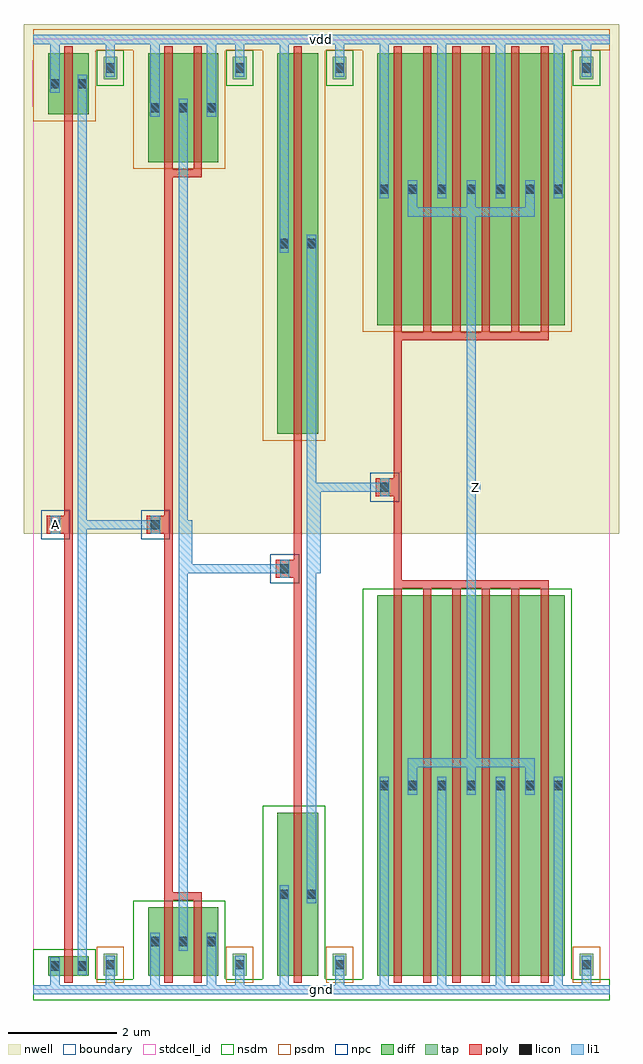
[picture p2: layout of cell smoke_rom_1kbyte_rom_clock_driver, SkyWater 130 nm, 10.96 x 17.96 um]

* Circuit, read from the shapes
.subckt smoke_rom_1kbyte_rom_clock_driver A Z gnd vdd
XM1 smoke_rom_1kbyte_pinv_0_1/A A gnd gnd sky130_fd_pr__nfet_01v8 w=0.36 l=0.15
XM2 smoke_rom_1kbyte_pinv_1_2/A smoke_rom_1kbyte_pinv_0_1/A gnd gnd sky130_fd_pr__nfet_01v8 w=1.26 l=0.15 m=2
XM3 smoke_rom_1kbyte_pinv_2_3/A smoke_rom_1kbyte_pinv_1_2/A gnd gnd sky130_fd_pr__nfet_01v8 w=3 l=0.15
XM4 Z smoke_rom_1kbyte_pinv_2_3/A gnd gnd sky130_fd_pr__nfet_01v8 w=7 l=0.15 m=6
XM5 smoke_rom_1kbyte_pinv_0_1/A A vdd vdd sky130_fd_pr__pfet_01v8 w=1.12 l=0.15
XM6 smoke_rom_1kbyte_pinv_1_2/A smoke_rom_1kbyte_pinv_0_1/A vdd vdd sky130_fd_pr__pfet_01v8 w=2 l=0.15 m=2
XM7 smoke_rom_1kbyte_pinv_2_3/A smoke_rom_1kbyte_pinv_1_2/A vdd vdd sky130_fd_pr__pfet_01v8 w=7 l=0.15
XM8 Z smoke_rom_1kbyte_pinv_2_3/A vdd vdd sky130_fd_pr__pfet_01v8 w=5 l=0.15 m=6
.ends

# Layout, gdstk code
import gdstk
lib = gdstk.Library(unit=1e-6, precision=1e-09)
def R(c, l, rs):  # rectangles x0, y0, x1, y1
    for r in rs: c.add(gdstk.rectangle(r[:2], r[2:], *l))
def A(c, l, x, y, w, h, nx, ny, dx, dy):  # array of equal rectangles
    R(c, l, [(x+i*dx, y+j*dy, x+i*dx+w, y+j*dy+h) for i in range(nx) for j in range(ny)])
nwell = (64, 20)
diff = (65, 20)
tap = (65, 44)
poly = (66, 20)
licon = (66, 44)
li1 = (67, 20)
stdcell_id = (81, 4)
nsdm = (93, 44)
psdm = (94, 20)
npc = (95, 20)
boundary = (235, 4)

smoke_rom_1kbyte_contact = lib.new_cell('smoke_rom_1kbyte_contact_10')
R(smoke_rom_1kbyte_contact, nwell, [(-0.295,-0.255,0.545,0.585)])
R(smoke_rom_1kbyte_contact, diff, [(0,0.02,0.25,0.31)])
R(smoke_rom_1kbyte_contact, licon, [(0.04,0.08,0.21,0.25)])
R(smoke_rom_1kbyte_contact, li1, [(0.04,0,0.21,0.33)])
R(smoke_rom_1kbyte_contact, stdcell_id, [(-0.295,-0.255,0.545,0.585)])
R(smoke_rom_1kbyte_contact, psdm, [(-0.125,-0.105,0.375,0.435)])
R(smoke_rom_1kbyte_contact, boundary, [(-0.295,-0.255,0.545,0.585)])

smoke_rom_1kbyte_pmos_m1 = lib.new_cell('smoke_rom_1kbyte_pmos_m1_w1_120_sli_dli_da_p')
R(smoke_rom_1kbyte_pmos_m1, nwell, [(-0.27,-0.27,1.02,1.39)])
R(smoke_rom_1kbyte_pmos_m1, diff, [(0,0,0.75,1.12)])
R(smoke_rom_1kbyte_pmos_m1, poly, [(0.3,-0.13,0.45,1.25), (0.3,-0.13,0.45,1.25)])
R(smoke_rom_1kbyte_pmos_m1, li1, [(0.04,0.395,0.21,0.725), (0.54,0.395,0.71,0.725)])
R(smoke_rom_1kbyte_pmos_m1, stdcell_id, [(-0.27,-0.27,1.02,1.39)])
R(smoke_rom_1kbyte_pmos_m1, psdm, [(-0.125,-0.125,0.875,1.245)])
R(smoke_rom_1kbyte_pmos_m1, boundary, [(-0.27,-0.27,1.02,1.39)])
smoke_rom_1kbyte_pmos_m1.add(gdstk.Reference(smoke_rom_1kbyte_contact, (0,0.395)))
smoke_rom_1kbyte_pmos_m1.add(gdstk.Reference(smoke_rom_1kbyte_contact, (0.5,0.395)))
smoke_rom_1kbyte_pmos_m1.add(gdstk.Label('G', (0.375,0.56), layer=66, texttype=5))
smoke_rom_1kbyte_pmos_m1.add(gdstk.Label('S', (0.125,0.56), layer=67, texttype=5))
smoke_rom_1kbyte_pmos_m1.add(gdstk.Label('D', (0.625,0.56), layer=67, texttype=5))

c_smoke_rom_1kbyte_contact = lib.new_cell('smoke_rom_1kbyte_contact_8')
R(c_smoke_rom_1kbyte_contact, diff, [(0,0.02,0.25,0.31)])
R(c_smoke_rom_1kbyte_contact, licon, [(0.04,0.08,0.21,0.25)])
R(c_smoke_rom_1kbyte_contact, li1, [(0.04,0,0.21,0.33)])
R(c_smoke_rom_1kbyte_contact, stdcell_id, [(-0.125,-0.105,0.375,0.435)])
R(c_smoke_rom_1kbyte_contact, nsdm, [(-0.125,-0.105,0.375,0.435)])
R(c_smoke_rom_1kbyte_contact, boundary, [(-0.125,-0.105,0.375,0.435)])

smoke_rom_1kbyte_nmos_m1 = lib.new_cell('smoke_rom_1kbyte_nmos_m1_w0_360_sli_dli_da_p')
R(smoke_rom_1kbyte_nmos_m1, diff, [(0,0,0.75,0.36)])
R(smoke_rom_1kbyte_nmos_m1, poly, [(0.3,-0.13,0.45,0.49), (0.3,-0.13,0.45,0.49)])
R(smoke_rom_1kbyte_nmos_m1, li1, [(0.04,0.015,0.21,0.345), (0.54,0.015,0.71,0.345)])
R(smoke_rom_1kbyte_nmos_m1, stdcell_id, [(-0.125,-0.13,0.875,0.49)])
R(smoke_rom_1kbyte_nmos_m1, nsdm, [(-0.125,-0.125,0.875,0.485)])
R(smoke_rom_1kbyte_nmos_m1, boundary, [(-0.125,-0.13,0.875,0.49)])
smoke_rom_1kbyte_nmos_m1.add(gdstk.Reference(c_smoke_rom_1kbyte_contact, (0,0.015)))
smoke_rom_1kbyte_nmos_m1.add(gdstk.Reference(c_smoke_rom_1kbyte_contact, (0.5,0.015)))
smoke_rom_1kbyte_nmos_m1.add(gdstk.Label('G', (0.375,0.18), layer=66, texttype=5))
smoke_rom_1kbyte_nmos_m1.add(gdstk.Label('S', (0.125,0.18), layer=67, texttype=5))
smoke_rom_1kbyte_nmos_m1.add(gdstk.Label('D', (0.625,0.18), layer=67, texttype=5))

c_smoke_rom_1kbyte_contact_ = lib.new_cell('smoke_rom_1kbyte_contact_26')
R(c_smoke_rom_1kbyte_contact_, nwell, [(-0.295,-0.215,0.545,0.625)])
R(c_smoke_rom_1kbyte_contact_, tap, [(0,0,0.25,0.41)])
R(c_smoke_rom_1kbyte_contact_, licon, [(0.04,0.12,0.21,0.29)])
R(c_smoke_rom_1kbyte_contact_, li1, [(0.04,0.04,0.21,0.37)])
R(c_smoke_rom_1kbyte_contact_, stdcell_id, [(-0.295,-0.215,0.545,0.625)])
R(c_smoke_rom_1kbyte_contact_, nsdm, [(-0.125,-0.125,0.375,0.535)])
R(c_smoke_rom_1kbyte_contact_, boundary, [(-0.295,-0.215,0.545,0.625)])

c_smoke_rom_1kbyte_contact__ = lib.new_cell('smoke_rom_1kbyte_contact_27')
R(c_smoke_rom_1kbyte_contact__, tap, [(0,0,0.25,0.41)])
R(c_smoke_rom_1kbyte_contact__, licon, [(0.04,0.12,0.21,0.29)])
R(c_smoke_rom_1kbyte_contact__, li1, [(0.04,0.04,0.21,0.37)])
R(c_smoke_rom_1kbyte_contact__, stdcell_id, [(-0.125,-0.125,0.375,0.535)])
R(c_smoke_rom_1kbyte_contact__, psdm, [(-0.125,-0.125,0.375,0.535)])
R(c_smoke_rom_1kbyte_contact__, boundary, [(-0.125,-0.125,0.375,0.535)])

c_smoke_rom_1kbyte_contact___ = lib.new_cell('smoke_rom_1kbyte_contact_11')
R(c_smoke_rom_1kbyte_contact___, poly, [(0,0,0.33,0.33)])
R(c_smoke_rom_1kbyte_contact___, licon, [(0.08,0.08,0.25,0.25)])
R(c_smoke_rom_1kbyte_contact___, li1, [(0.08,0,0.25,0.33)])
R(c_smoke_rom_1kbyte_contact___, stdcell_id, [(-0.1,-0.1,0.43,0.43)])
R(c_smoke_rom_1kbyte_contact___, npc, [(-0.1,-0.1,0.43,0.43)])
R(c_smoke_rom_1kbyte_contact___, boundary, [(-0.1,-0.1,0.43,0.43)])

smoke_rom_1kbyte_pinv = lib.new_cell('smoke_rom_1kbyte_pinv')
R(smoke_rom_1kbyte_pinv, nwell, [(-0.18,8.39,2.02,17.77)])
R(smoke_rom_1kbyte_pinv, poly, [(0.57,0.745,0.72,15.98), (0.405,8.39,0.57,8.72)])
R(smoke_rom_1kbyte_pinv, li1, [(0,-0.085,1.84,0.085), (0.31,-0.085,0.48,0.27), (1.33,0,1.5,0.46), (0.81,0.27,0.98,16.835), (0.32,8.39,0.49,8.72), (0.895,8.47,1.065,8.64), (0.31,16.505,0.48,17.57), (1.33,16.96,1.5,17.48), (0,17.4,1.84,17.57)])
R(smoke_rom_1kbyte_pinv, stdcell_id, [(0,0,1.84,17.48), (0,0,1.84,17.48)])
R(smoke_rom_1kbyte_pinv, nsdm, [(0,-0.19,1.84,0.19), (0,0,1.145,0.74)])
R(smoke_rom_1kbyte_pinv, psdm, [(0,15.985,1.145,17.485), (0,17.29,1.84,17.67)])
R(smoke_rom_1kbyte_pinv, boundary, [(0,0,1.84,17.48), (0,0,1.84,17.48)])
smoke_rom_1kbyte_pinv.add(gdstk.Reference(smoke_rom_1kbyte_pmos_m1, (0.27,16.11)))
smoke_rom_1kbyte_pinv.add(gdstk.Reference(smoke_rom_1kbyte_nmos_m1, (0.27,0.255)))
smoke_rom_1kbyte_pinv.add(gdstk.Reference(c_smoke_rom_1kbyte_contact_, (1.29,16.755)))
smoke_rom_1kbyte_pinv.add(gdstk.Reference(c_smoke_rom_1kbyte_contact__, (1.29,0.255)))
smoke_rom_1kbyte_pinv.add(gdstk.Reference(c_smoke_rom_1kbyte_contact___, (0.24,8.39)))
smoke_rom_1kbyte_pinv.add(gdstk.Label('A', (0.405,8.555), layer=67, texttype=5))
smoke_rom_1kbyte_pinv.add(gdstk.Label('Z', (0.98,8.555), layer=67, texttype=5))
smoke_rom_1kbyte_pinv.add(gdstk.Label('gnd', (0.92,0), layer=67, texttype=5))
smoke_rom_1kbyte_pinv.add(gdstk.Label('vdd', (0.92,17.485), layer=67, texttype=5))

smoke_rom_1kbyte_pmos_m2 = lib.new_cell('smoke_rom_1kbyte_pmos_m2_w2_000_sli_dli_da_p')
R(smoke_rom_1kbyte_pmos_m2, nwell, [(-0.27,-0.27,1.56,2.27)])
R(smoke_rom_1kbyte_pmos_m2, diff, [(0,0,1.29,2)])
R(smoke_rom_1kbyte_pmos_m2, poly, [(0.3,-0.28,0.99,-0.13), (0.3,-0.13,0.45,2.13), (0.84,-0.13,0.99,2.13)])
A(smoke_rom_1kbyte_pmos_m2, li1, 0.04, 0.835, 0.17, 0.33, 3, 1, 0.52, 0)
R(smoke_rom_1kbyte_pmos_m2, stdcell_id, [(-0.27,-0.28,1.56,2.27)])
R(smoke_rom_1kbyte_pmos_m2, psdm, [(-0.125,-0.125,1.415,2.125)])
R(smoke_rom_1kbyte_pmos_m2, boundary, [(-0.27,-0.28,1.56,2.27)])
smoke_rom_1kbyte_pmos_m2.add(gdstk.Reference(smoke_rom_1kbyte_contact, (0,0.835)))
smoke_rom_1kbyte_pmos_m2.add(gdstk.Reference(smoke_rom_1kbyte_contact, (0.52,0.835)))
smoke_rom_1kbyte_pmos_m2.add(gdstk.Reference(smoke_rom_1kbyte_contact, (1.04,0.835)))
smoke_rom_1kbyte_pmos_m2.add(gdstk.Label('G', (0.645,-0.205), layer=66, texttype=5))
smoke_rom_1kbyte_pmos_m2.add(gdstk.Label('S', (1.165,1), layer=67, texttype=5))
smoke_rom_1kbyte_pmos_m2.add(gdstk.Label('S', (0.125,1), layer=67, texttype=5))
smoke_rom_1kbyte_pmos_m2.add(gdstk.Label('D', (0.645,1), layer=67, texttype=5))

smoke_rom_1kbyte_nmos_m2 = lib.new_cell('smoke_rom_1kbyte_nmos_m2_w1_260_sli_dli_da_p')
R(smoke_rom_1kbyte_nmos_m2, diff, [(0,0,1.29,1.26)])
R(smoke_rom_1kbyte_nmos_m2, poly, [(0.3,-0.13,0.45,1.39), (0.84,-0.13,0.99,1.39), (0.3,1.39,0.99,1.54)])
A(smoke_rom_1kbyte_nmos_m2, li1, 0.04, 0.465, 0.17, 0.33, 3, 1, 0.52, 0)
R(smoke_rom_1kbyte_nmos_m2, stdcell_id, [(-0.125,-0.13,1.415,1.54)])
R(smoke_rom_1kbyte_nmos_m2, nsdm, [(-0.125,-0.125,1.415,1.385)])
R(smoke_rom_1kbyte_nmos_m2, boundary, [(-0.125,-0.13,1.415,1.54)])
smoke_rom_1kbyte_nmos_m2.add(gdstk.Reference(c_smoke_rom_1kbyte_contact, (0,0.465)))
smoke_rom_1kbyte_nmos_m2.add(gdstk.Reference(c_smoke_rom_1kbyte_contact, (0.52,0.465)))
smoke_rom_1kbyte_nmos_m2.add(gdstk.Reference(c_smoke_rom_1kbyte_contact, (1.04,0.465)))
smoke_rom_1kbyte_nmos_m2.add(gdstk.Label('G', (0.645,1.465), layer=66, texttype=5))
smoke_rom_1kbyte_nmos_m2.add(gdstk.Label('S', (1.165,0.63), layer=67, texttype=5))
smoke_rom_1kbyte_nmos_m2.add(gdstk.Label('S', (0.125,0.63), layer=67, texttype=5))
smoke_rom_1kbyte_nmos_m2.add(gdstk.Label('D', (0.645,0.63), layer=67, texttype=5))

smoke_rom_1kbyte_pinv_0 = lib.new_cell('smoke_rom_1kbyte_pinv_0')
R(smoke_rom_1kbyte_pinv_0, nwell, [(-0.18,8.39,2.56,17.77)])
R(smoke_rom_1kbyte_pinv_0, poly, [(0.57,1.795,0.72,14.95), (0.405,8.39,0.57,8.72)])
R(smoke_rom_1kbyte_pinv_0, li1, [(0,-0.085,2.38,0.085), (0.31,-0.085,0.48,0.72), (1.35,-0.085,1.52,0.72), (1.87,0,2.04,0.46), (0.83,0.72,1,16.395), (0.32,8.39,0.49,8.72), (0.915,8.47,1.085,8.64), (0.31,16.065,0.48,17.57), (1.35,16.065,1.52,17.57), (1.87,16.96,2.04,17.48), (0,17.4,2.38,17.57)])
R(smoke_rom_1kbyte_pinv_0, stdcell_id, [(0,0,2.38,17.48), (0,0,2.38,17.48)])
R(smoke_rom_1kbyte_pinv_0, nsdm, [(0,-0.19,2.38,0.19), (0,0,1.685,1.64)])
R(smoke_rom_1kbyte_pinv_0, psdm, [(0,15.105,1.685,17.485), (0,17.29,2.38,17.67)])
R(smoke_rom_1kbyte_pinv_0, boundary, [(0,0,2.38,17.48), (0,0,2.38,17.48)])
smoke_rom_1kbyte_pinv_0.add(gdstk.Reference(smoke_rom_1kbyte_pmos_m2, (0.27,15.23)))
smoke_rom_1kbyte_pinv_0.add(gdstk.Reference(smoke_rom_1kbyte_nmos_m2, (0.27,0.255)))
smoke_rom_1kbyte_pinv_0.add(gdstk.Reference(c_smoke_rom_1kbyte_contact_, (1.83,16.755)))
smoke_rom_1kbyte_pinv_0.add(gdstk.Reference(c_smoke_rom_1kbyte_contact__, (1.83,0.255)))
smoke_rom_1kbyte_pinv_0.add(gdstk.Reference(c_smoke_rom_1kbyte_contact___, (0.24,8.39)))
smoke_rom_1kbyte_pinv_0.add(gdstk.Label('A', (0.405,8.555), layer=67, texttype=5))
smoke_rom_1kbyte_pinv_0.add(gdstk.Label('Z', (1,8.555), layer=67, texttype=5))
smoke_rom_1kbyte_pinv_0.add(gdstk.Label('gnd', (1.19,0), layer=67, texttype=5))
smoke_rom_1kbyte_pinv_0.add(gdstk.Label('vdd', (1.19,17.485), layer=67, texttype=5))

c_smoke_rom_1kbyte_pmos_m1 = lib.new_cell('smoke_rom_1kbyte_pmos_m1_w7_000_sli_dli_da_p')
R(c_smoke_rom_1kbyte_pmos_m1, nwell, [(-0.27,-0.27,1.02,7.27)])
R(c_smoke_rom_1kbyte_pmos_m1, diff, [(0,0,0.75,7)])
R(c_smoke_rom_1kbyte_pmos_m1, poly, [(0.3,-0.13,0.45,7.13), (0.3,-0.13,0.45,7.13)])
R(c_smoke_rom_1kbyte_pmos_m1, li1, [(0.04,3.335,0.21,3.665), (0.54,3.335,0.71,3.665)])
R(c_smoke_rom_1kbyte_pmos_m1, stdcell_id, [(-0.27,-0.27,1.02,7.27)])
R(c_smoke_rom_1kbyte_pmos_m1, psdm, [(-0.125,-0.125,0.875,7.125)])
R(c_smoke_rom_1kbyte_pmos_m1, boundary, [(-0.27,-0.27,1.02,7.27)])
c_smoke_rom_1kbyte_pmos_m1.add(gdstk.Reference(smoke_rom_1kbyte_contact, (0,3.335)))
c_smoke_rom_1kbyte_pmos_m1.add(gdstk.Reference(smoke_rom_1kbyte_contact, (0.5,3.335)))
c_smoke_rom_1kbyte_pmos_m1.add(gdstk.Label('G', (0.375,3.5), layer=66, texttype=5))
c_smoke_rom_1kbyte_pmos_m1.add(gdstk.Label('S', (0.125,3.5), layer=67, texttype=5))
c_smoke_rom_1kbyte_pmos_m1.add(gdstk.Label('D', (0.625,3.5), layer=67, texttype=5))

c_smoke_rom_1kbyte_nmos_m1 = lib.new_cell('smoke_rom_1kbyte_nmos_m1_w3_000_sli_dli_da_p')
R(c_smoke_rom_1kbyte_nmos_m1, diff, [(0,0,0.75,3)])
R(c_smoke_rom_1kbyte_nmos_m1, poly, [(0.3,-0.13,0.45,3.13), (0.3,-0.13,0.45,3.13)])
R(c_smoke_rom_1kbyte_nmos_m1, li1, [(0.04,1.335,0.21,1.665), (0.54,1.335,0.71,1.665)])
R(c_smoke_rom_1kbyte_nmos_m1, stdcell_id, [(-0.125,-0.13,0.875,3.13)])
R(c_smoke_rom_1kbyte_nmos_m1, nsdm, [(-0.125,-0.125,0.875,3.125)])
R(c_smoke_rom_1kbyte_nmos_m1, boundary, [(-0.125,-0.13,0.875,3.13)])
c_smoke_rom_1kbyte_nmos_m1.add(gdstk.Reference(c_smoke_rom_1kbyte_contact, (0,1.335)))
c_smoke_rom_1kbyte_nmos_m1.add(gdstk.Reference(c_smoke_rom_1kbyte_contact, (0.5,1.335)))
c_smoke_rom_1kbyte_nmos_m1.add(gdstk.Label('G', (0.375,1.5), layer=66, texttype=5))
c_smoke_rom_1kbyte_nmos_m1.add(gdstk.Label('S', (0.125,1.5), layer=67, texttype=5))
c_smoke_rom_1kbyte_nmos_m1.add(gdstk.Label('D', (0.625,1.5), layer=67, texttype=5))

smoke_rom_1kbyte_pinv_1 = lib.new_cell('smoke_rom_1kbyte_pinv_1')
R(smoke_rom_1kbyte_pinv_1, nwell, [(-0.18,8.39,2.02,17.77)])
R(smoke_rom_1kbyte_pinv_1, poly, [(0.57,3.385,0.72,10.1), (0.405,7.58,0.57,7.91)])
R(smoke_rom_1kbyte_pinv_1, li1, [(0,-0.085,1.84,0.085), (0.31,-0.085,0.48,1.59), (1.33,0,1.5,0.46), (0.81,1.59,0.98,13.895), (0.32,7.58,0.49,7.91), (0.895,7.66,1.065,7.83), (0.31,13.565,0.48,17.57), (1.33,16.96,1.5,17.48), (0,17.4,1.84,17.57)])
R(smoke_rom_1kbyte_pinv_1, stdcell_id, [(0,0,1.84,17.48), (0,0,1.84,17.48)])
R(smoke_rom_1kbyte_pinv_1, nsdm, [(0,-0.19,1.84,0.19), (0,0,1.145,3.38)])
R(smoke_rom_1kbyte_pinv_1, psdm, [(0,10.105,1.145,17.485), (0,17.29,1.84,17.67)])
R(smoke_rom_1kbyte_pinv_1, boundary, [(0,0,1.84,17.48), (0,0,1.84,17.48)])
smoke_rom_1kbyte_pinv_1.add(gdstk.Reference(c_smoke_rom_1kbyte_pmos_m1, (0.27,10.23)))
smoke_rom_1kbyte_pinv_1.add(gdstk.Reference(c_smoke_rom_1kbyte_nmos_m1, (0.27,0.255)))
smoke_rom_1kbyte_pinv_1.add(gdstk.Reference(c_smoke_rom_1kbyte_contact_, (1.29,16.755)))
smoke_rom_1kbyte_pinv_1.add(gdstk.Reference(c_smoke_rom_1kbyte_contact__, (1.29,0.255)))
smoke_rom_1kbyte_pinv_1.add(gdstk.Reference(c_smoke_rom_1kbyte_contact___, (0.24,7.58)))
smoke_rom_1kbyte_pinv_1.add(gdstk.Label('A', (0.405,7.745), layer=67, texttype=5))
smoke_rom_1kbyte_pinv_1.add(gdstk.Label('Z', (0.98,7.745), layer=67, texttype=5))
smoke_rom_1kbyte_pinv_1.add(gdstk.Label('gnd', (0.92,0), layer=67, texttype=5))
smoke_rom_1kbyte_pinv_1.add(gdstk.Label('vdd', (0.92,17.485), layer=67, texttype=5))

smoke_rom_1kbyte_pmos_m6 = lib.new_cell('smoke_rom_1kbyte_pmos_m6_w5_000_sli_dli_da_p')
R(smoke_rom_1kbyte_pmos_m6, nwell, [(-0.27,-0.27,3.72,5.27)])
R(smoke_rom_1kbyte_pmos_m6, diff, [(0,0,3.45,5)])
A(smoke_rom_1kbyte_pmos_m6, poly, 0.3, -0.13, 0.15, 5.26, 6, 1, 0.54, 0)
R(smoke_rom_1kbyte_pmos_m6, poly, [(0.3,-0.28,3.15,-0.13)])
A(smoke_rom_1kbyte_pmos_m6, li1, 0.56, 2.08, 0.17, 0.42, 3, 1, 1.08, 0)
R(smoke_rom_1kbyte_pmos_m6, li1, [(0.56,1.995,2.89,2.165), (0.04,2.335,0.21,2.665), (1.1,2.335,1.27,2.665), (2.18,2.335,2.35,2.665), (3.24,2.335,3.41,2.665)])
R(smoke_rom_1kbyte_pmos_m6, stdcell_id, [(-0.27,-0.28,3.72,5.27)])
R(smoke_rom_1kbyte_pmos_m6, psdm, [(-0.125,-0.125,3.575,5.125)])
R(smoke_rom_1kbyte_pmos_m6, boundary, [(-0.27,-0.28,3.72,5.27)])
smoke_rom_1kbyte_pmos_m6.add(gdstk.Reference(smoke_rom_1kbyte_contact, (0,2.335)))
smoke_rom_1kbyte_pmos_m6.add(gdstk.Reference(smoke_rom_1kbyte_contact, (0.52,2.335)))
smoke_rom_1kbyte_pmos_m6.add(gdstk.Reference(smoke_rom_1kbyte_contact, (1.06,2.335)))
smoke_rom_1kbyte_pmos_m6.add(gdstk.Reference(smoke_rom_1kbyte_contact, (1.6,2.335)))
smoke_rom_1kbyte_pmos_m6.add(gdstk.Reference(smoke_rom_1kbyte_contact, (2.14,2.335)))
smoke_rom_1kbyte_pmos_m6.add(gdstk.Reference(smoke_rom_1kbyte_contact, (2.68,2.335)))
smoke_rom_1kbyte_pmos_m6.add(gdstk.Reference(smoke_rom_1kbyte_contact, (3.2,2.335)))
smoke_rom_1kbyte_pmos_m6.add(gdstk.Label('G', (1.725,-0.205), layer=66, texttype=5))
smoke_rom_1kbyte_pmos_m6.add(gdstk.Label('S', (3.325,2.5), layer=67, texttype=5))
smoke_rom_1kbyte_pmos_m6.add(gdstk.Label('S', (1.185,2.5), layer=67, texttype=5))
smoke_rom_1kbyte_pmos_m6.add(gdstk.Label('S', (2.265,2.5), layer=67, texttype=5))
smoke_rom_1kbyte_pmos_m6.add(gdstk.Label('S', (0.125,2.5), layer=67, texttype=5))
smoke_rom_1kbyte_pmos_m6.add(gdstk.Label('D', (1.725,2.08), layer=67, texttype=5))

smoke_rom_1kbyte_nmos_m6 = lib.new_cell('smoke_rom_1kbyte_nmos_m6_w7_000_sli_dli_da_p')
R(smoke_rom_1kbyte_nmos_m6, diff, [(0,0,3.45,7)])
A(smoke_rom_1kbyte_nmos_m6, poly, 0.3, -0.13, 0.15, 7.26, 6, 1, 0.54, 0)
R(smoke_rom_1kbyte_nmos_m6, poly, [(0.3,7.13,3.15,7.28)])
A(smoke_rom_1kbyte_nmos_m6, li1, 0.56, 3.5, 0.17, 0.42, 3, 1, 1.08, 0)
R(smoke_rom_1kbyte_nmos_m6, li1, [(0.04,3.335,0.21,3.665), (1.1,3.335,1.27,3.665), (2.18,3.335,2.35,3.665), (3.24,3.335,3.41,3.665), (0.56,3.835,2.89,4.005)])
R(smoke_rom_1kbyte_nmos_m6, stdcell_id, [(-0.125,-0.13,3.575,7.28)])
R(smoke_rom_1kbyte_nmos_m6, nsdm, [(-0.125,-0.125,3.575,7.125)])
R(smoke_rom_1kbyte_nmos_m6, boundary, [(-0.125,-0.13,3.575,7.28)])
smoke_rom_1kbyte_nmos_m6.add(gdstk.Reference(c_smoke_rom_1kbyte_contact, (0,3.335)))
smoke_rom_1kbyte_nmos_m6.add(gdstk.Reference(c_smoke_rom_1kbyte_contact, (0.52,3.335)))
smoke_rom_1kbyte_nmos_m6.add(gdstk.Reference(c_smoke_rom_1kbyte_contact, (1.06,3.335)))
smoke_rom_1kbyte_nmos_m6.add(gdstk.Reference(c_smoke_rom_1kbyte_contact, (1.6,3.335)))
smoke_rom_1kbyte_nmos_m6.add(gdstk.Reference(c_smoke_rom_1kbyte_contact, (2.14,3.335)))
smoke_rom_1kbyte_nmos_m6.add(gdstk.Reference(c_smoke_rom_1kbyte_contact, (2.68,3.335)))
smoke_rom_1kbyte_nmos_m6.add(gdstk.Reference(c_smoke_rom_1kbyte_contact, (3.2,3.335)))
smoke_rom_1kbyte_nmos_m6.add(gdstk.Label('G', (1.725,7.205), layer=66, texttype=5))
smoke_rom_1kbyte_nmos_m6.add(gdstk.Label('S', (3.325,3.5), layer=67, texttype=5))
smoke_rom_1kbyte_nmos_m6.add(gdstk.Label('S', (2.265,3.5), layer=67, texttype=5))
smoke_rom_1kbyte_nmos_m6.add(gdstk.Label('S', (1.185,3.5), layer=67, texttype=5))
smoke_rom_1kbyte_nmos_m6.add(gdstk.Label('S', (0.125,3.5), layer=67, texttype=5))
smoke_rom_1kbyte_nmos_m6.add(gdstk.Label('D', (1.725,3.92), layer=67, texttype=5))

smoke_rom_1kbyte_pinv_2 = lib.new_cell('smoke_rom_1kbyte_pinv_2')
R(smoke_rom_1kbyte_pinv_2, nwell, [(-0.18,8.39,4.72,17.77)])
R(smoke_rom_1kbyte_pinv_2, poly, [(0.57,7.535,0.72,11.95), (0.405,9.08,0.57,9.41)])
R(smoke_rom_1kbyte_pinv_2, li1, [(0,-0.085,4.54,0.085), (0.31,-0.085,0.48,3.59), (1.37,-0.085,1.54,3.59), (2.45,-0.085,2.62,3.59), (3.51,-0.085,3.68,3.59), (4.03,0,4.2,0.46), (1.91,4.09,2.08,14.395), (0.32,9.08,0.49,9.41), (1.995,9.16,2.165,9.33), (0.31,14.565,0.48,17.57), (1.37,14.565,1.54,17.57), (2.45,14.565,2.62,17.57), (3.51,14.565,3.68,17.57), (4.03,16.96,4.2,17.48), (0,17.4,4.54,17.57)])
R(smoke_rom_1kbyte_pinv_2, stdcell_id, [(0,0,4.54,17.48), (0,0,4.54,17.48)])
R(smoke_rom_1kbyte_pinv_2, nsdm, [(0,-0.19,4.54,0.19), (0,0,3.845,7.38)])
R(smoke_rom_1kbyte_pinv_2, psdm, [(0,12.105,3.845,17.485), (0,17.29,4.54,17.67)])
R(smoke_rom_1kbyte_pinv_2, boundary, [(0,0,4.54,17.48), (0,0,4.54,17.48)])
smoke_rom_1kbyte_pinv_2.add(gdstk.Reference(smoke_rom_1kbyte_pmos_m6, (0.27,12.23)))
smoke_rom_1kbyte_pinv_2.add(gdstk.Reference(smoke_rom_1kbyte_nmos_m6, (0.27,0.255)))
smoke_rom_1kbyte_pinv_2.add(gdstk.Reference(c_smoke_rom_1kbyte_contact_, (3.99,16.755)))
smoke_rom_1kbyte_pinv_2.add(gdstk.Reference(c_smoke_rom_1kbyte_contact__, (3.99,0.255)))
smoke_rom_1kbyte_pinv_2.add(gdstk.Reference(c_smoke_rom_1kbyte_contact___, (0.24,9.08)))
smoke_rom_1kbyte_pinv_2.add(gdstk.Label('A', (0.405,9.245), layer=67, texttype=5))
smoke_rom_1kbyte_pinv_2.add(gdstk.Label('Z', (2.08,9.245), layer=67, texttype=5))
smoke_rom_1kbyte_pinv_2.add(gdstk.Label('gnd', (2.27,0), layer=67, texttype=5))
smoke_rom_1kbyte_pinv_2.add(gdstk.Label('vdd', (2.27,17.485), layer=67, texttype=5))

smoke_rom_1kbyte_rom_clo = lib.new_cell('smoke_rom_1kbyte_rom_clock_driver')
R(smoke_rom_1kbyte_rom_clo, nwell, [(-0.18,8.39,10.78,17.77)])
R(smoke_rom_1kbyte_rom_clo, li1, [(0,-0.085,10.6,0.085), (2.755,7.66,2.925,7.83), (2.84,7.66,4.625,7.83), (2.755,7.745,2.925,8.555), (5.115,7.745,5.285,9.245), (0.32,8.39,0.49,8.72), (0.98,8.47,2.245,8.64), (5.115,9.16,5.285,9.33), (5.2,9.16,6.465,9.33), (8.055,9.16,8.225,9.33), (0,17.395,10.6,17.565)])
R(smoke_rom_1kbyte_rom_clo, stdcell_id, [(0,0,10.6,17.48), (0,0,10.6,17.48)])
R(smoke_rom_1kbyte_rom_clo, nsdm, [(0,-0.19,10.6,0.19)])
R(smoke_rom_1kbyte_rom_clo, psdm, [(0,17.29,10.6,17.67)])
R(smoke_rom_1kbyte_rom_clo, boundary, [(0,0,10.6,17.48), (0,0,10.6,17.48)])
smoke_rom_1kbyte_rom_clo.add(gdstk.Reference(smoke_rom_1kbyte_pinv, (0,0)))
smoke_rom_1kbyte_rom_clo.add(gdstk.Reference(smoke_rom_1kbyte_pinv_0, (1.84,0)))
smoke_rom_1kbyte_rom_clo.add(gdstk.Reference(smoke_rom_1kbyte_pinv_1, (4.22,0)))
smoke_rom_1kbyte_rom_clo.add(gdstk.Reference(smoke_rom_1kbyte_pinv_2, (6.06,0)))
smoke_rom_1kbyte_rom_clo.add(gdstk.Label('Z', (8.14,9.245), layer=67, texttype=5))
smoke_rom_1kbyte_rom_clo.add(gdstk.Label('A', (0.405,8.555), layer=67, texttype=5))
smoke_rom_1kbyte_rom_clo.add(gdstk.Label('gnd', (5.3,0), layer=67, texttype=5))
smoke_rom_1kbyte_rom_clo.add(gdstk.Label('vdd', (5.3,17.48), layer=67, texttype=5))

lib.write_gds('smoke_rom_1kbyte_rom_clock_driver.gds')
